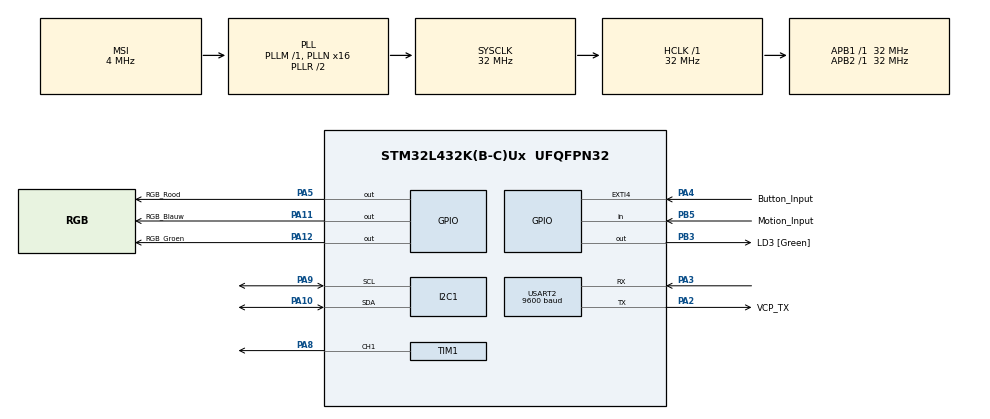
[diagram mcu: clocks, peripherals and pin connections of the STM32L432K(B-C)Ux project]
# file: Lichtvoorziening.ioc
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Dma.Request0=TIM1_CH1
Dma.TIM1_CH1.0.Direction=DMA_MEMORY_TO_PERIPH
Dma.TIM1_CH1.0.Instance=DMA1_Channel2
Dma.TIM1_CH1.0.MemDataAlignment=DMA_MDATAALIGN_HALFWORD
Dma.TIM1_CH1.0.MemInc=DMA_MINC_ENABLE
Dma.TIM1_CH1.0.Mode=DMA_CIRCULAR
Dma.TIM1_CH1.0.PeriphDataAlignment=DMA_PDATAALIGN_HALFWORD
Dma.TIM1_CH1.0.PeriphInc=DMA_PINC_DISABLE
Dma.TIM1_CH1.0.Priority=DMA_PRIORITY_LOW
I2C1.I2C_Fall_Time=10
I2C1.Timing=0x20302E37
Mcu.Family=STM32L4
Mcu.Name=STM32L432K(B-C)Ux
Mcu.Package=UFQFPN32
NVIC.DMA1_Channel2_IRQn=true\:0\:0\:false\:false\:true\:false\:true\:true
NVIC.EXTI4_IRQn=true\:0\:0\:false\:false\:true\:true\:true\:true
NVIC.PVD_PVM_IRQn=true\:0\:0\:false\:false\:true\:true\:true\:true
NVIC.PriorityGroup=NVIC_PRIORITYGROUP_4
PA0.GPIO_Label=MCO [High speed clock in]
PA0.Mode=HSE-External-Clock-Source-for-LittleOrca
PA0.Signal=RCC_CK_IN
PA10.Mode=I2C
PA10.Signal=I2C1_SDA
PA11.GPIO_Label=RGB_Blauw
PA11.Signal=GPIO_Output
PA12.GPIO_Label=RGB_Groen
PA12.Signal=GPIO_Output
PA13\ (JTMS-SWDIO).GPIO_Label=SWDIO
PA13\ (JTMS-SWDIO).Mode=Serial_Wire
PA13\ (JTMS-SWDIO).Signal=SYS_JTMS-SWDIO
PA14\ (JTCK-SWCLK).GPIO_Label=SWCLK
PA14\ (JTCK-SWCLK).Mode=Serial_Wire
PA14\ (JTCK-SWCLK).Signal=SYS_JTCK-SWCLK
PA2.GPIO_Label=VCP_TX
PA2.Mode=Asynchronous
PA2.Signal=USART2_TX
PA3.Mode=Asynchronous
PA3.Signal=USART2_RX
PA4.GPIO_Label=Button_Input
PA4.GPIO_ModeDefaultEXTI=GPIO_MODE_IT_FALLING
PA4.GPIO_PuPd=GPIO_PULLUP
PA4.Signal=GPXTI4
PA5.GPIO_Label=RGB_Rood
PA5.Signal=GPIO_Output
PA8.Signal=S_TIM1_CH1
PA9.Mode=I2C
PA9.Signal=I2C1_SCL
PB3\ (JTDO-TRACESWO).GPIO_Label=LD3 [Green]
PB3\ (JTDO-TRACESWO).Signal=GPIO_Output
PB5.GPIO_Label=Motion_Input
PB5.Signal=GPIO_Input
PC14-OSC32_IN\ (PC14).Mode=LSE-External-Oscillator
PC14-OSC32_IN\ (PC14).Signal=RCC_OSC32_IN
PC15-OSC32_OUT\ (PC15).Mode=LSE-External-Oscillator
PC15-OSC32_OUT\ (PC15).Signal=RCC_OSC32_OUT
ProjectManager.HeapSize=0x200
ProjectManager.StackSize=0x400
ProjectManager.TargetToolchain=STM32CubeIDE
RCC.AHBFreq_Value=32000000
RCC.APB1Freq_Value=32000000
RCC.APB1TimFreq_Value=32000000
RCC.APB2Freq_Value=32000000
RCC.APB2TimFreq_Value=32000000
RCC.CortexFreq_Value=32000000
RCC.HCLKFreq_Value=32000000
RCC.HSE_VALUE=8000000
RCC.HSI16_VALUE=16000000
RCC.HSI48_VALUE=48000000
RCC.HSI_VALUE=16000000
RCC.MSI_VALUE=4000000
RCC.PLLMUL=RCC_PLLMUL_4
RCC.PLLN=16
RCC.SYSCLKFreq_VALUE=32000000
RCC.SYSCLKSource=RCC_SYSCLKSOURCE_PLLCLK
RCC.VCOOutputFreq_Value=64000000
SH.S_TIM1_CH1.0=TIM1_CH1,PWM Generation1 CH1
TIM1.Channel-PWM\ Generation1\ CH1=TIM_CHANNEL_1
TIM1.Period=39
USART2.BaudRate=9600
USART2.VirtualMode-Asynchronous=VM_ASYNC
board=NUCLEO-L432KC

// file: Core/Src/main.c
/* USER CODE BEGIN Header */
/**
  ******************************************************************************
  * @file           : main.c
  * @brief          : Main program body
  ******************************************************************************
  * @attention
  *
  * Copyright (c) 2026 STMicroelectronics.
  * All rights reserved.
  *
  * This software is licensed under terms that can be found in the LICENSE file
  * in the root directory of this software component.
  * If no LICENSE file comes with this software, it is provided AS-IS.
  *
  ******************************************************************************
  */
/* USER CODE END Header */
#include "main.h"

/* USER CODE BEGIN Includes */
#include "ws2812b.h"
#include <string.h>
#include <stdbool.h>
#include <stdio.h>
/* USER CODE END Includes */

/* USER CODE BEGIN PD */
#define NUM_RUNNERS  3
/* USER CODE END PD */

I2C_HandleTypeDef hi2c1;

TIM_HandleTypeDef htim1;
DMA_HandleTypeDef hdma_tim1_ch1;

UART_HandleTypeDef huart2;

/* USER CODE BEGIN PV */
volatile uint8_t button_pressed = 0;
volatile uint32_t last_sensor_tick = 0;
volatile uint32_t led_on_tick = 0;
volatile uint8_t led_on = 0;
/* USER CODE END PV */

void SystemClock_Config(void);
static void MX_GPIO_Init(void);
static void MX_DMA_Init(void);
static void MX_USART2_UART_Init(void);
static void MX_I2C1_Init(void);
static void MX_TIM1_Init(void);

/* USER CODE BEGIN 0 */
void SGP30_Init(void) {
    uint8_t cmd[2] = {0x20, 0x03};
    HAL_I2C_Master_Transmit(&hi2c1, 0x58 << 1, cmd, 2, HAL_MAX_DELAY);
    //for the first 15s after the “sgp30_iaq_init” command the sensor isin an initialization phase during which a “sgp30_measure_iaq” command returns fixed values of 400 ppm CO2eq and 0 ppb TVOC.
    HAL_Delay(15000);
}

uint16_t SGP30_ReadCO2(void) {
    uint8_t cmd[2] = {0x20, 0x08};
    HAL_I2C_Master_Transmit(&hi2c1, 0x58 << 1, cmd, 2, HAL_MAX_DELAY);

    uint32_t start = HAL_GetTick();
    while (HAL_GetTick() - start < 12);

    uint8_t buf[6];
    HAL_I2C_Master_Receive(&hi2c1, 0x58 << 1, buf, 6, HAL_MAX_DELAY);

    return (buf[0] << 8) | buf[1];
}

static void chase_tick(int step) {
    WS2812B_Clear();

    int j = step % WS2812B_NUM_LEDS;
    int i = (step + 1) % WS2812B_NUM_LEDS;

    WS2812B_SetLED(i, 255, 0, 0);
    WS2812B_SetLED(j, 255, 0, 0);
}

/* USER CODE END 0 */

int main(void)
{

  /* MCU Configuration--------------------------------------------------------*/

  /* Reset of all peripherals, Initializes the Flash interface and the Systick. */
  HAL_Init();

  /* Configure the system clock */
  SystemClock_Config();

  /* Initialize all configured peripherals */
  MX_GPIO_Init();
  MX_DMA_Init();
  MX_USART2_UART_Init();
  MX_I2C1_Init();
  MX_TIM1_Init();
  /* USER CODE BEGIN 2 */
  char test[] = "STM32 gestart!\r\n";
  HAL_UART_Transmit(&huart2, (uint8_t*)test, strlen(test), 1000);
  SGP30_Init();   // eerst SGP30
  WS2812B_Init(); // dan pas WS2812B
  //HAL_GPIO_WritePin(GPIOA, RGB_Rood_Pin, GPIO_PIN_SET);
  //HAL_GPIO_WritePin(GPIOA, RGB_Blauw_Pin, GPIO_PIN_SET);

  /* USER CODE END 2 */

  /* Infinite loop */
  /* USER CODE BEGIN WHILE */
  char Beweging [] = "Beweging gedetecteerd, Verlichting gaat aan! \r\n";
  char LampUit[] = "Lamp gaat uit! \r\n";
  while (1)
  {
	  if (HAL_GetTick() - last_sensor_tick >= 1000)
	     {
	         last_sensor_tick = HAL_GetTick();
	         uint16_t eco2 = SGP30_ReadCO2();
	         char msg[64];
	         sprintf(msg, "eCO2: %d ppm\r\n", eco2);
	         HAL_UART_Transmit(&huart2, (uint8_t*)msg, strlen(msg), HAL_MAX_DELAY);
	     }

		  static int step = 0;
		  static uint32_t last_chase_tick = 0;
		  if (HAL_GetTick() - last_chase_tick >= 100)  // was 60, nu trager
		  {
		      last_chase_tick = HAL_GetTick();
		      chase_tick(step);
		      step += 1;
		  }

	     if (button_pressed)
	     {
	         button_pressed = 0;
	         HAL_UART_Transmit(&huart2, (uint8_t*)Beweging, strlen(Beweging), strlen(Beweging));
	         HAL_GPIO_WritePin(GPIOA, RGB_Groen_Pin, GPIO_PIN_SET);
	         led_on_tick = HAL_GetTick();
	         led_on = 1;
	     }

	     if (led_on && (HAL_GetTick() - led_on_tick >= 5000))
	     {
	         HAL_GPIO_WritePin(GPIOA, RGB_Groen_Pin, GPIO_PIN_RESET);
	         HAL_UART_Transmit(&huart2, (uint8_t*)LampUit, strlen(LampUit), HAL_MAX_DELAY);
	         led_on = 0;
	     }

    /* USER CODE END WHILE */

  }
}

void SystemClock_Config(void)
{
  RCC_OscInitTypeDef RCC_OscInitStruct = {0};
  RCC_ClkInitTypeDef RCC_ClkInitStruct = {0};

  /** Configure the main internal regulator output voltage
  */
  if (HAL_PWREx_ControlVoltageScaling(PWR_REGULATOR_VOLTAGE_SCALE1) != HAL_OK)
  {
    Error_Handler();
  }

  /** Configure LSE Drive Capability
  */
  HAL_PWR_EnableBkUpAccess();
  __HAL_RCC_LSEDRIVE_CONFIG(RCC_LSEDRIVE_LOW);

  /** Initializes the RCC Oscillators according to the specified parameters
  * in the RCC_OscInitTypeDef structure.
  */
  RCC_OscInitStruct.OscillatorType = RCC_OSCILLATORTYPE_LSE|RCC_OSCILLATORTYPE_MSI;
  RCC_OscInitStruct.LSEState = RCC_LSE_ON;
  RCC_OscInitStruct.MSIState = RCC_MSI_ON;
  RCC_OscInitStruct.MSICalibrationValue = 0;
  RCC_OscInitStruct.MSIClockRange = RCC_MSIRANGE_6;
  RCC_OscInitStruct.PLL.PLLState = RCC_PLL_ON;
  RCC_OscInitStruct.PLL.PLLSource = RCC_PLLSOURCE_MSI;
  RCC_OscInitStruct.PLL.PLLM = 1;
  RCC_OscInitStruct.PLL.PLLN = 16;
  RCC_OscInitStruct.PLL.PLLP = RCC_PLLP_DIV7;
  RCC_OscInitStruct.PLL.PLLQ = RCC_PLLQ_DIV2;
  RCC_OscInitStruct.PLL.PLLR = RCC_PLLR_DIV2;
  if (HAL_RCC_OscConfig(&RCC_OscInitStruct) != HAL_OK)
  {
    Error_Handler();
  }

  /** Initializes the CPU, AHB and APB buses clocks
  */
  RCC_ClkInitStruct.ClockType = RCC_CLOCKTYPE_HCLK|RCC_CLOCKTYPE_SYSCLK
                              |RCC_CLOCKTYPE_PCLK1|RCC_CLOCKTYPE_PCLK2;
  RCC_ClkInitStruct.SYSCLKSource = RCC_SYSCLKSOURCE_PLLCLK;
  RCC_ClkInitStruct.AHBCLKDivider = RCC_SYSCLK_DIV1;
  RCC_ClkInitStruct.APB1CLKDivider = RCC_HCLK_DIV1;
  RCC_ClkInitStruct.APB2CLKDivider = RCC_HCLK_DIV1;

  if (HAL_RCC_ClockConfig(&RCC_ClkInitStruct, FLASH_LATENCY_1) != HAL_OK)
  {
    Error_Handler();
  }

  /** Enable MSI Auto calibration
  */
  HAL_RCCEx_EnableMSIPLLMode();
}

static void MX_I2C1_Init(void)
{

  hi2c1.Instance = I2C1;
  hi2c1.Init.Timing = 0x20302E37;
  hi2c1.Init.OwnAddress1 = 0;
  hi2c1.Init.AddressingMode = I2C_ADDRESSINGMODE_7BIT;
  hi2c1.Init.DualAddressMode = I2C_DUALADDRESS_DISABLE;
  hi2c1.Init.OwnAddress2 = 0;
  hi2c1.Init.OwnAddress2Masks = I2C_OA2_NOMASK;
  hi2c1.Init.GeneralCallMode = I2C_GENERALCALL_DISABLE;
  hi2c1.Init.NoStretchMode = I2C_NOSTRETCH_DISABLE;
  if (HAL_I2C_Init(&hi2c1) != HAL_OK)
  {
    Error_Handler();
  }

  /** Configure Analogue filter
  */
  if (HAL_I2CEx_ConfigAnalogFilter(&hi2c1, I2C_ANALOGFILTER_ENABLE) != HAL_OK)
  {
    Error_Handler();
  }

  /** Configure Digital filter
  */
  if (HAL_I2CEx_ConfigDigitalFilter(&hi2c1, 0) != HAL_OK)
  {
    Error_Handler();
  }

}

static void MX_TIM1_Init(void)
{

  TIM_MasterConfigTypeDef sMasterConfig = {0};
  TIM_OC_InitTypeDef sConfigOC = {0};
  TIM_BreakDeadTimeConfigTypeDef sBreakDeadTimeConfig = {0};

  htim1.Instance = TIM1;
  htim1.Init.Prescaler = 0;
  htim1.Init.CounterMode = TIM_COUNTERMODE_UP;
  htim1.Init.Period = 39;
  htim1.Init.ClockDivision = TIM_CLOCKDIVISION_DIV1;
  htim1.Init.RepetitionCounter = 0;
  htim1.Init.AutoReloadPreload = TIM_AUTORELOAD_PRELOAD_DISABLE;
  if (HAL_TIM_PWM_Init(&htim1) != HAL_OK)
  {
    Error_Handler();
  }
  sMasterConfig.MasterOutputTrigger = TIM_TRGO_RESET;
  sMasterConfig.MasterOutputTrigger2 = TIM_TRGO2_RESET;
  sMasterConfig.MasterSlaveMode = TIM_MASTERSLAVEMODE_DISABLE;
  if (HAL_TIMEx_MasterConfigSynchronization(&htim1, &sMasterConfig) != HAL_OK)
  {
    Error_Handler();
  }
  sConfigOC.OCMode = TIM_OCMODE_PWM1;
  sConfigOC.Pulse = 0;
  sConfigOC.OCPolarity = TIM_OCPOLARITY_HIGH;
  sConfigOC.OCNPolarity = TIM_OCNPOLARITY_HIGH;
  sConfigOC.OCFastMode = TIM_OCFAST_DISABLE;
  sConfigOC.OCIdleState = TIM_OCIDLESTATE_RESET;
  sConfigOC.OCNIdleState = TIM_OCNIDLESTATE_RESET;
  if (HAL_TIM_PWM_ConfigChannel(&htim1, &sConfigOC, TIM_CHANNEL_1) != HAL_OK)
  {
    Error_Handler();
  }
  sBreakDeadTimeConfig.OffStateRunMode = TIM_OSSR_DISABLE;
  sBreakDeadTimeConfig.OffStateIDLEMode = TIM_OSSI_DISABLE;
  sBreakDeadTimeConfig.LockLevel = TIM_LOCKLEVEL_OFF;
  sBreakDeadTimeConfig.DeadTime = 0;
  sBreakDeadTimeConfig.BreakState = TIM_BREAK_DISABLE;
  sBreakDeadTimeConfig.BreakPolarity = TIM_BREAKPOLARITY_HIGH;
  sBreakDeadTimeConfig.BreakFilter = 0;
  sBreakDeadTimeConfig.Break2State = TIM_BREAK2_DISABLE;
  sBreakDeadTimeConfig.Break2Polarity = TIM_BREAK2POLARITY_HIGH;
  sBreakDeadTimeConfig.Break2Filter = 0;
  sBreakDeadTimeConfig.AutomaticOutput = TIM_AUTOMATICOUTPUT_DISABLE;
  if (HAL_TIMEx_ConfigBreakDeadTime(&htim1, &sBreakDeadTimeConfig) != HAL_OK)
  {
    Error_Handler();
  }
  HAL_TIM_MspPostInit(&htim1);

}

static void MX_USART2_UART_Init(void)
{

  huart2.Instance = USART2;
  huart2.Init.BaudRate = 9600;
  huart2.Init.WordLength = UART_WORDLENGTH_8B;
  huart2.Init.StopBits = UART_STOPBITS_1;
  huart2.Init.Parity = UART_PARITY_NONE;
  huart2.Init.Mode = UART_MODE_TX_RX;
  huart2.Init.HwFlowCtl = UART_HWCONTROL_NONE;
  huart2.Init.OverSampling = UART_OVERSAMPLING_16;
  huart2.Init.OneBitSampling = UART_ONE_BIT_SAMPLE_DISABLE;
  huart2.AdvancedInit.AdvFeatureInit = UART_ADVFEATURE_NO_INIT;
  if (HAL_UART_Init(&huart2) != HAL_OK)
  {
    Error_Handler();
  }

}

static void MX_DMA_Init(void)
{

  /* DMA controller clock enable */
  __HAL_RCC_DMA1_CLK_ENABLE();

  /* DMA interrupt init */
  /* DMA1_Channel2_IRQn interrupt configuration */
  HAL_NVIC_SetPriority(DMA1_Channel2_IRQn, 0, 0);
  HAL_NVIC_EnableIRQ(DMA1_Channel2_IRQn);

}

static void MX_GPIO_Init(void)
{
  GPIO_InitTypeDef GPIO_InitStruct = {0};

  /* GPIO Ports Clock Enable */
  __HAL_RCC_GPIOC_CLK_ENABLE();
  __HAL_RCC_GPIOA_CLK_ENABLE();
  __HAL_RCC_GPIOB_CLK_ENABLE();

  /*Configure GPIO pin Output Level */
  HAL_GPIO_WritePin(GPIOA, RGB_Rood_Pin|RGB_Blauw_Pin|RGB_Groen_Pin, GPIO_PIN_RESET);

  /*Configure GPIO pin Output Level */
  HAL_GPIO_WritePin(LD3_GPIO_Port, LD3_Pin, GPIO_PIN_RESET);

  /*Configure GPIO pin : Button_Input_Pin */
  GPIO_InitStruct.Pin = Button_Input_Pin;
  GPIO_InitStruct.Mode = GPIO_MODE_IT_FALLING;
  GPIO_InitStruct.Pull = GPIO_PULLUP;
  HAL_GPIO_Init(Button_Input_GPIO_Port, &GPIO_InitStruct);

  /*Configure GPIO pins : RGB_Rood_Pin RGB_Blauw_Pin RGB_Groen_Pin */
  GPIO_InitStruct.Pin = RGB_Rood_Pin|RGB_Blauw_Pin|RGB_Groen_Pin;
  GPIO_InitStruct.Mode = GPIO_MODE_OUTPUT_PP;
  GPIO_InitStruct.Pull = GPIO_NOPULL;
  GPIO_InitStruct.Speed = GPIO_SPEED_FREQ_LOW;
  HAL_GPIO_Init(GPIOA, &GPIO_InitStruct);

  /*Configure GPIO pin : LD3_Pin */
  GPIO_InitStruct.Pin = LD3_Pin;
  GPIO_InitStruct.Mode = GPIO_MODE_OUTPUT_PP;
  GPIO_InitStruct.Pull = GPIO_NOPULL;
  GPIO_InitStruct.Speed = GPIO_SPEED_FREQ_LOW;
  HAL_GPIO_Init(LD3_GPIO_Port, &GPIO_InitStruct);

  /*Configure GPIO pin : Motion_Input_Pin */
  GPIO_InitStruct.Pin = Motion_Input_Pin;
  GPIO_InitStruct.Mode = GPIO_MODE_INPUT;
  GPIO_InitStruct.Pull = GPIO_NOPULL;
  HAL_GPIO_Init(Motion_Input_GPIO_Port, &GPIO_InitStruct);

  /* EXTI interrupt init*/
  HAL_NVIC_SetPriority(EXTI4_IRQn, 0, 0);
  HAL_NVIC_EnableIRQ(EXTI4_IRQn);

}

/* USER CODE BEGIN 4 */
/* USER CODE BEGIN 4 */
void HAL_GPIO_EXTI_Callback(uint16_t GPIO_Pin)
{
    static uint32_t last_tick = 0;
    if (GPIO_Pin == Button_Input_Pin)
    {
        uint32_t now = HAL_GetTick();
        if (now - last_tick > 200)
        {
            button_pressed = 1;
            last_tick = now;
        }
    }
}

void HAL_TIM_PWM_PulseFinishedHalfCpltCallback(TIM_HandleTypeDef *htim) {
    if (htim->Instance == TIM1) {
        WS2812B_DMA_HalfCpltCallback();
    }
}

void HAL_TIM_PWM_PulseFinishedCallback(TIM_HandleTypeDef *htim) {
    if (htim->Instance == TIM1) {
        WS2812B_DMA_CpltCallback();
    }
}
/* USER CODE END 4 */

void Error_Handler(void)
{
  __disable_irq();
  while (1)
  {
  }
}
